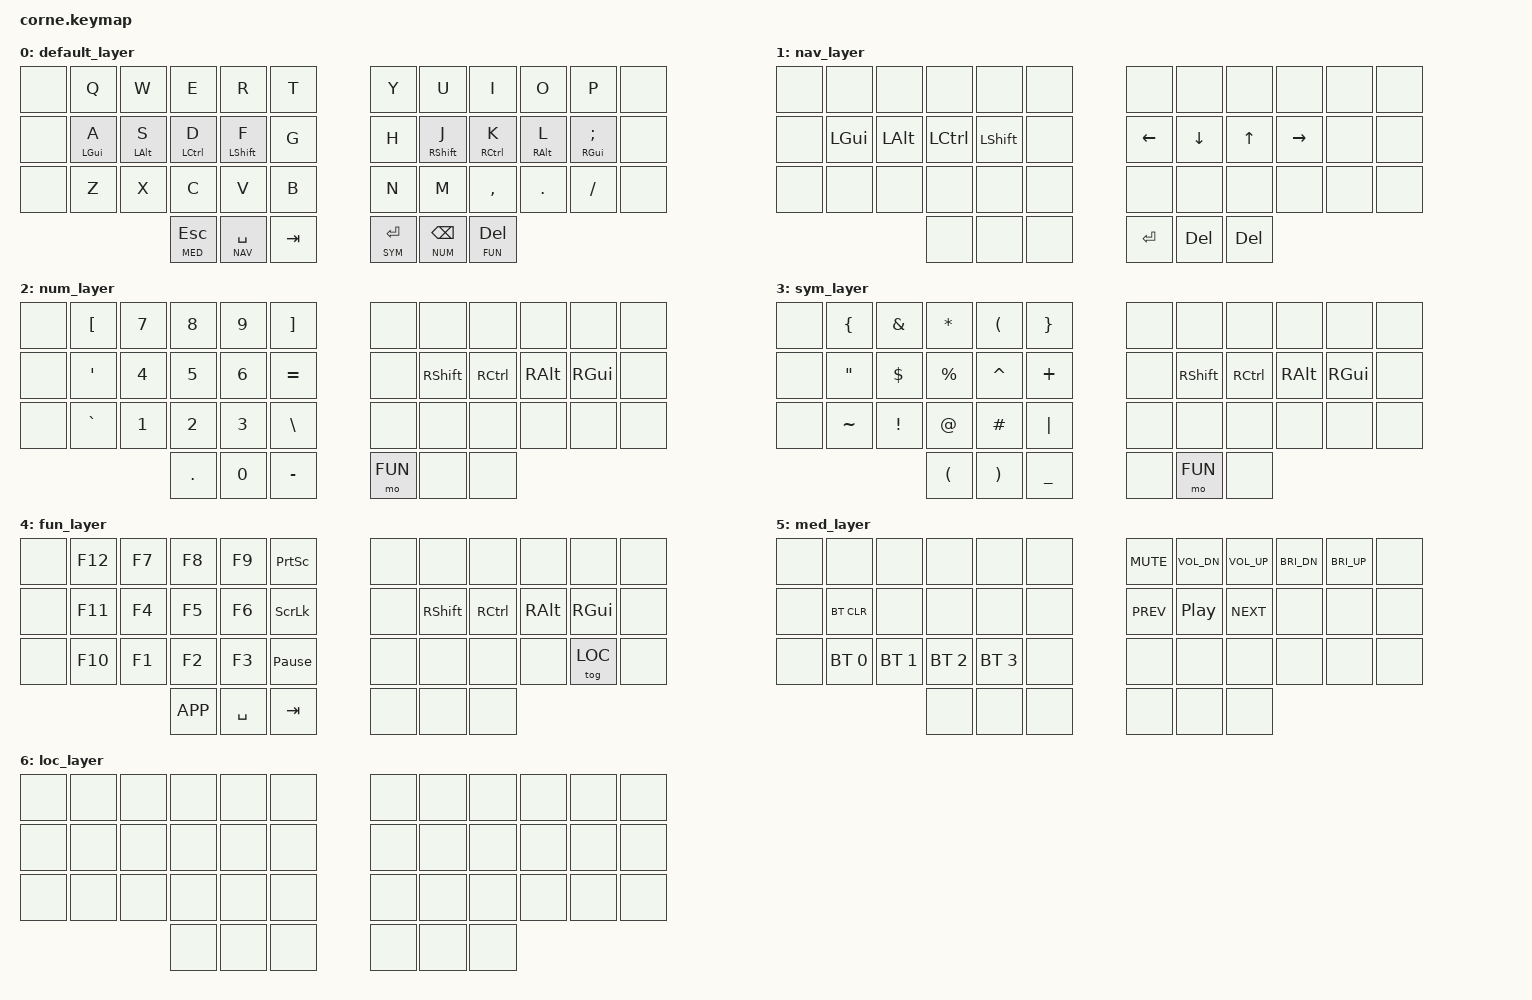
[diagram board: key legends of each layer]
#include <behaviors.dtsi>
#include <dt-bindings/zmk/keys.h>
#include <dt-bindings/zmk/bt.h>

#define DEF 0
#define NAV 1
#define NUM 2
#define SYM 3
#define FUN 4
#define MED 5
#define LOC 6

/*                KEY POSITIONS
        $row * NUMBER_OF_COLUMNS + $column

╭────────────────────────╮ ╭────────────────────────╮
│  0   1   2   3   4   5 │ │  6   7   8   9  10  11 │
│ 12  13  14  15  16  17 │ │ 18  19  20  21  22  23 │
│ 24  25  26  27  28  29 │ │ 30  31  32  33  34  35 │
╰───────────╮ 36  37  38 │ │ 39  40  41 ╭───────────╯
            ╰────────────╯ ╰────────────╯
*/


/ {
    behaviors {
        cht: cmd_hold_tap {
            compatible = "zmk,behavior-hold-tap";
            label = "CMD_HOLD_TAP";
            #binding-cells = <2>;
            flavor = "balanced";
            tapping-term-ms = <200>;
            quick-tap-ms = <125>;
            bindings = <&kp>, <&kp>;
            hold-trigger-key-positions = <2 3 4 5 6 7 8 9 10 11 14 15 16 18 19 20 21 22 23 26 27 28 29 30 31 32 33 34 35 36 37 38 39 40 41>;
        };

        bht: base_hold_tap {
            compatible = "zmk,behavior-hold-tap";
            label = "BASE_HOLD_TAP";
            #binding-cells = <2>;
            flavor = "balanced";
            tapping-term-ms = <200>;
            quick-tap-ms = <125>;
            bindings = <&kp>, <&kp>;
        };
    };

    keymap {
        compatible = "zmk,keymap";

        default_layer {
            bindings = <
    &none &kp Q       &kp W       &kp E        &kp R         &kp T       &kp Y       &kp U        &kp I        &kp O       &kp P          &none
    &none &cht LGUI A &bht LALT S &bht LCTRL D &bht LSHFT F  &kp G       &kp H       &bht RSHFT J &bht RCTRL K &bht RALT L &bht RGUI SEMI &none
    &none &kp Z       &kp X       &kp C        &kp V         &kp B       &kp N       &kp M        &kp COMMA    &kp DOT     &kp FSLH       &none
                                  &lt MED ESC  &lt NAV SPACE &kp TAB     &lt SYM RET &lt NUM BSPC &lt FUN DEL
            >;
        };

        nav_layer {
            bindings = <
    &none &none    &none    &none     &none     &none     &none    &none    &none   &none     &none &none
    &none &kp LGUI &kp LALT &kp LCTRL &kp LSHFT &none     &kp LEFT &kp DOWN &kp UP  &kp RIGHT &none &none
    &none &none    &none    &none     &none     &none     &none    &none    &none   &none     &none &none
                            &none     &none     &none     &kp RET  &kp DEL &kp DEL
            >;
        };

        num_layer {
            bindings = <
    &none &kp LBKT  &kp N7 &kp N8  &kp N9 &kp RBKT       &none   &none     &none     &none    &none    &none
    &none &kp SQT   &kp N4 &kp N5  &kp N6 &kp EQUAL      &none   &kp RSHFT &kp RCTRL &kp RALT &kp RGUI &none
    &none &kp GRAVE &kp N1 &kp N2  &kp N3 &kp BSLH       &none   &none     &none     &none    &none    &none
                           &kp DOT &kp N0 &kp MINUS      &mo FUN &none     &none
            >;
        };

        sym_layer {
            bindings = <
    &none &kp LBRC  &kp AMPS &kp ASTRK &kp LPAR  &kp RBRC   &none &none     &none     &none    &none    &none
    &none &kp DQT   &kp DLLR &kp PRCNT &kp CARET &kp PLUS   &none &kp RSHFT &kp RCTRL &kp RALT &kp RGUI &none
    &none &kp TILDE &kp EXCL &kp AT    &kp HASH  &kp PIPE   &none &none     &none     &none    &none    &none
                             &kp LPAR  &kp RPAR  &kp UNDER  &none &mo FUN   &none
            >;
        };

        fun_layer {
            bindings = <
    &none &kp F12 &kp F7 &kp F8    &kp F9    &kp PSCRN         &none &none     &none     &none    &none    &none
    &none &kp F11 &kp F4 &kp F5    &kp F6    &kp SLCK          &none &kp RSHFT &kp RCTRL &kp RALT &kp RGUI &none
    &none &kp F10 &kp F1 &kp F2    &kp F3    &kp PAUSE_BREAK   &none &none     &none     &none    &tog LOC &none
                         &kp K_APP &kp SPACE &kp TAB           &none &none     &none
            >;
        };

        med_layer {
            bindings = <
    &none &none        &none        &none        &none        &none   &kp K_MUTE &kp C_VOL_DN &kp C_VOL_UP &kp C_BRI_DN &kp C_BRI_UP &none
    &none &bt BT_CLR   &none        &none        &none        &none   &kp C_PREV &kp C_PP     &kp C_NEXT   &none        &none        &none
    &none &bt BT_SEL 0 &bt BT_SEL 1 &bt BT_SEL 2 &bt BT_SEL 3 &none   &none      &none        &none        &none        &none        &none
                                    &none        &none        &none   &none      &none        &none
            >;
        };

        loc_layer {
            bindings = <
    &none &none &none &none &none &none   &none &none &none &none &none &none
    &none &none &none &none &none &none   &none &none &none &none &none &none
    &none &none &none &none &none &none   &none &none &none &none &none &none
                      &none &none &none   &none &none &none
            >;
        };
    };
};
